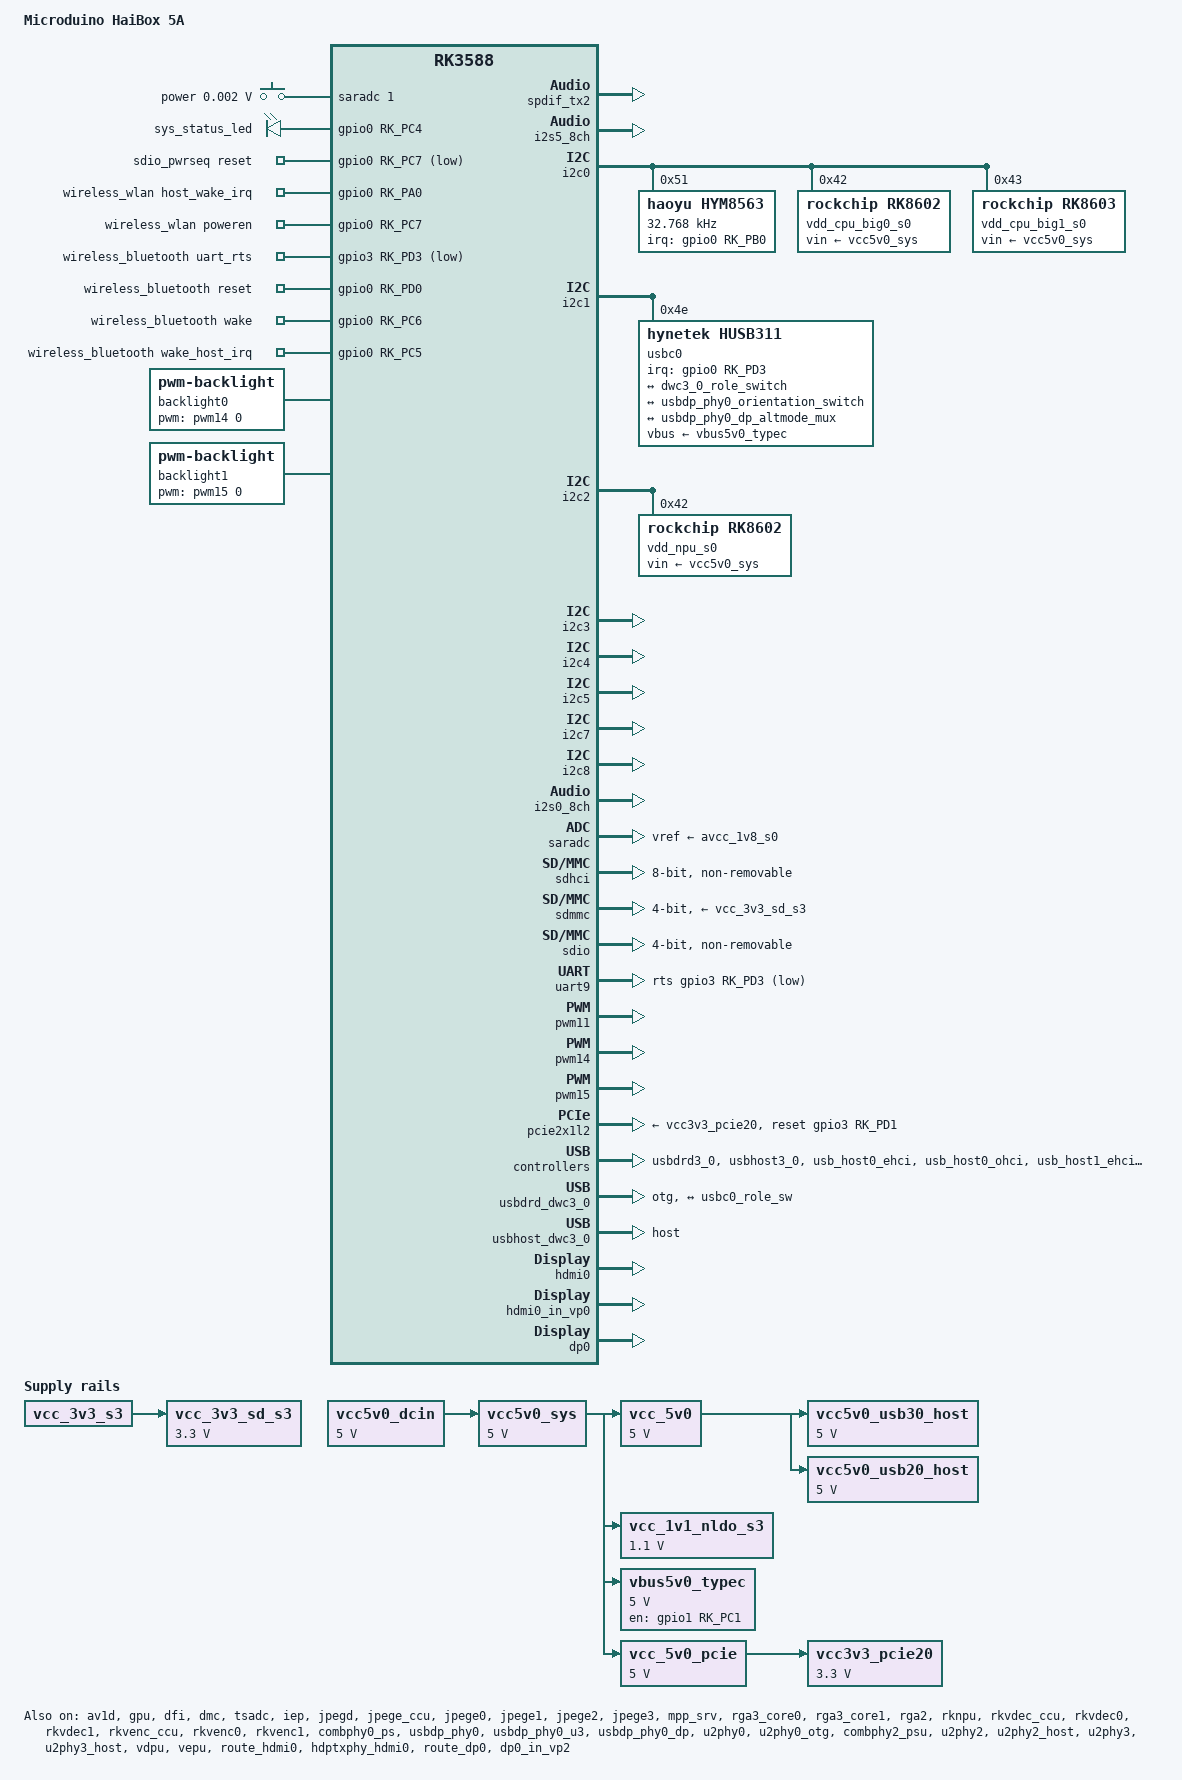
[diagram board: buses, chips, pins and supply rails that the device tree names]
// SPDX-License-Identifier: (GPL-2.0+ OR MIT)
/*
 * Copyright (c) 2021 Rockchip Electronics Co., Ltd.
 * Copyright (c) 2023 EmbedFire <embedfire@embedfire.com>
 */

/dts-v1/;

#include <dt-bindings/usb/pd.h>
#include <dt-bindings/leds/common.h>
#include <dt-bindings/gpio/gpio.h>
#include <dt-bindings/pwm/pwm.h>
#include <dt-bindings/pinctrl/rockchip.h>
#include <dt-bindings/input/rk-input.h>
#include <dt-bindings/display/drm_mipi_dsi.h>
#include <dt-bindings/display/rockchip_vop.h>
#include <dt-bindings/sensor-dev.h>
#include "rk3588s.dtsi"
#include "rk3588-rk806-single.dtsi"
#include "rk3588-linux.dtsi"

/ {
	model = "Microduino HaiBox 5A";
	compatible = "microduino,haibox-5a", "rockchip,rk3588";

	chosen: chosen {
		bootargs = "earlycon=uart8250,mmio32,0xfeb50000 console=ttyFIQ0 coherent_pool=1m irqchip.gicv3_pseudo_nmi=0";
	};

	adc_keys: adc-keys {
		compatible = "adc-keys";
		io-channels = <&saradc 1>;
		io-channel-names = "buttons";
		keyup-threshold-microvolt = <1800000>;
		poll-interval = <100>;

		power {
			label = "power";
			linux,code = <KEY_POWER>;
			press-threshold-microvolt = <1750>;
		};
	};

	leds: leds {
		status = "okay";
		compatible = "gpio-leds";

		sys_status_led: sys-status-led {
			label = "sys_status_led";
			linux,default-trigger = "heartbeat";
			default-state = "on";
			gpios = <&gpio0 RK_PC4 GPIO_ACTIVE_HIGH>;
			pinctrl-names = "default";
			pinctrl-0 = <&sys_status_led_pin>;
		};
	};

	sdio_pwrseq: sdio-pwrseq {
		compatible = "mmc-pwrseq-simple";
		pinctrl-names = "default";
		pinctrl-0 = <&wifi_enable_h>;
		reset-gpios = <&gpio0 RK_PC7 GPIO_ACTIVE_LOW>;
	};

	wireless_wlan: wireless-wlan {
		compatible = "wlan-platdata";
		wifi_chip_type = "aic8800";
		pinctrl-names = "default";
		pinctrl-0 = <&wifi_host_wake_irq>;
		WIFI,host_wake_irq = <&gpio0 RK_PA0 GPIO_ACTIVE_HIGH>;
		WIFI,poweren_gpio = <&gpio0 RK_PC7 GPIO_ACTIVE_HIGH>;
		status = "okay";
	};

	wireless_bluetooth: wireless-bluetooth {
		compatible = "bluetooth-platdata";
		uart_rts_gpios = <&gpio3 RK_PD3 GPIO_ACTIVE_LOW>;
		pinctrl-names = "rts_gpio";
		pinctrl-0 = <&uart9_gpios>;
		BT,reset_gpio    = <&gpio0 RK_PD0 GPIO_ACTIVE_HIGH>; // BT_REG_ON_H
		BT,wake_gpio     = <&gpio0 RK_PC6 GPIO_ACTIVE_HIGH>; // HOST_WAKE_BT_H
		BT,wake_host_irq = <&gpio0 RK_PC5 GPIO_ACTIVE_HIGH>; // BT_WAKE_HOST_H
		status = "okay";
	};

	vcc5v0_dcin: vcc5v0-dcin {
		compatible = "regulator-fixed";
		regulator-name = "vcc5v_dcin";
		regulator-always-on;
		regulator-boot-on;
		regulator-min-microvolt = <5000000>;
		regulator-max-microvolt = <5000000>;
	};
	
	/* check done*/
	vcc5v0_sys: vcc5v0-sys {
		compatible = "regulator-fixed";
		regulator-name = "vcc5v0_sys";
		regulator-always-on;
		regulator-boot-on;
		regulator-min-microvolt = <5000000>;
		regulator-max-microvolt = <5000000>;
		vin-supply = <&vcc5v0_dcin>;
	};

	vcc_5v0: vcc-5v0 {
		compatible = "regulator-fixed";
		regulator-name = "vcc_5v0";
		regulator-always-on;
		regulator-boot-on;
		regulator-min-microvolt = <5000000>;
		regulator-max-microvolt = <5000000>;
		vin-supply = <&vcc5v0_sys>;
	};

	vcc_1v1_nldo_s3: vcc-1v1-nldo-s3 {
		compatible = "regulator-fixed";
		regulator-name = "vcc_1v1_nldo_s3";
		regulator-always-on;
		regulator-boot-on;
		regulator-min-microvolt = <1100000>;
		regulator-max-microvolt = <1100000>;
		vin-supply = <&vcc5v0_sys>;
	};

	vcc_3v3_sd_s3: vcc-3v3-sd-s3 {
		compatible = "regulator-fixed";
		regulator-name = "vcc_3v3_sd_s3";
		regulator-always-on;
		regulator-boot-on;
		regulator-min-microvolt = <3300000>;
		regulator-max-microvolt = <3300000>;
		vin-supply = <&vcc_3v3_s3>;
	};

	/* check done*/
	vbus5v0_typec: vbus5v0-typec {
		compatible = "regulator-fixed";
		regulator-name = "vbus5v0_typec";
		regulator-min-microvolt = <5000000>;
		regulator-max-microvolt = <5000000>;
		enable-active-high;
		gpio = <&gpio1 RK_PC1 GPIO_ACTIVE_HIGH>;
		vin-supply = <&vcc5v0_sys>;
		pinctrl-names = "default";
		pinctrl-0 = <&typec_vbus_en>;
	};

	/* check done*/
	vcc5v0_usb30_host: vcc5v0-usb30-host {
		compatible = "regulator-fixed";
		regulator-name = "vcc5v0_usb30_host";
		regulator-always-on;
		regulator-boot-on;
		regulator-min-microvolt = <5000000>;
		regulator-max-microvolt = <5000000>;
		vin-supply = <&vcc_5v0>;
	};

	/* check done*/
	vcc5v0_usb20_host: vcc5v0-usb20-host {
		compatible = "regulator-fixed";
		regulator-name = "vcc5v0_usb20_host";
		regulator-always-on;
		regulator-boot-on;
		regulator-min-microvolt = <5000000>;
		regulator-max-microvolt = <5000000>;
		vin-supply = <&vcc_5v0>;
	};


	/* panda new */
	/* check done*/
	vcc_5v0_pcie: vcc-5v0-pcie {
		compatible = "regulator-fixed";
		regulator-name = "vcc_5v0";
		regulator-always-on;
		regulator-boot-on;
		regulator-min-microvolt = <5000000>;
		regulator-max-microvolt = <5000000>;
		vin-supply = <&vcc5v0_sys>;
	};

	vcc3v3_pcie20: vcc3v3-pcie20 {
		compatible = "regulator-fixed";
		regulator-name = "vcc3v3_pcie20";
		regulator-always-on;
		regulator-boot-on;
		regulator-min-microvolt = <3300000>;
		regulator-max-microvolt = <3300000>;
		vin-supply = <&vcc_5v0_pcie>;
	};

	dp0_sound: dp0-sound {
		status = "okay";
		compatible = "rockchip,hdmi";
		rockchip,card-name = "rockchip-dp0";
		rockchip,mclk-fs = <512>;
		rockchip,cpu = <&spdif_tx2>;
		rockchip,codec = <&dp0 1>;
		rockchip,jack-det;
	};

	hdmi0_sound: hdmi0-sound {
		status = "okay";
		compatible = "rockchip,hdmi";
		rockchip,mclk-fs = <128>;
		rockchip,card-name = "rockchip-hdmi0";
		rockchip,cpu = <&i2s5_8ch>;
		rockchip,codec = <&hdmi0>;
		rockchip,jack-det;
	};

	/* check done*/
	backlight0: backlight0 {
		compatible = "pwm-backlight";
		pwms = <&pwm14 0 25000 0>;
		brightness-levels = <
		0  20  20  21  21  22  22  23
		23  24  24  25  25  26  26  27
		27  28  28  29  29  30  30  31
		31  32  32  33  33  34  34  35
		35  36  36  37  37  38  38  39
		40  41  42  43  44  45  46  47
		48  49  50  51  52  53  54  55
		56  57  58  59  60  61  62  63
		64  65  66  67  68  69  70  71
		72  73  74  75  76  77  78  79
		80  81  82  83  84  85  86  87
		88  89  90  91  92  93  94  95
		96  97  98  99 100 101 102 103
		104 105 106 107 108 109 110 111
		112 113 114 115 116 117 118 119
		120 121 122 123 124 125 126 127
		128 129 130 131 132 133 134 135
		136 137 138 139 140 141 142 143
		144 145 146 147 148 149 150 151
		152 153 154 155 156 157 158 159
		160 161 162 163 164 165 166 167
		168 169 170 171 172 173 174 175
		176 177 178 179 180 181 182 183
		184 185 186 187 188 189 190 191
		192 193 194 195 196 197 198 199
		200 201 202 203 204 205 206 207
		208 209 210 211 212 213 214 215
		216 217 218 219 220 221 222 223
		224 225 226 227 228 229 230 231
		232 233 234 235 236 237 238 239
		240 241 242 243 244 245 246 247
		248 249 250 251 252 253 254 255	
		>;
		default-brightness-level = <200>;
	};

	/* check done*/
	backlight1: backlight1 {
		compatible = "pwm-backlight";
		pwms = <&pwm15 0 25000 0>;
		brightness-levels = <
		0  20  20  21  21  22  22  23
		23  24  24  25  25  26  26  27
		27  28  28  29  29  30  30  31
		31  32  32  33  33  34  34  35
		35  36  36  37  37  38  38  39
		40  41  42  43  44  45  46  47
		48  49  50  51  52  53  54  55
		56  57  58  59  60  61  62  63
		64  65  66  67  68  69  70  71
		72  73  74  75  76  77  78  79
		80  81  82  83  84  85  86  87
		88  89  90  91  92  93  94  95
		96  97  98  99 100 101 102 103
		104 105 106 107 108 109 110 111
		112 113 114 115 116 117 118 119
		120 121 122 123 124 125 126 127
		128 129 130 131 132 133 134 135
		136 137 138 139 140 141 142 143
		144 145 146 147 148 149 150 151
		152 153 154 155 156 157 158 159
		160 161 162 163 164 165 166 167
		168 169 170 171 172 173 174 175
		176 177 178 179 180 181 182 183
		184 185 186 187 188 189 190 191
		192 193 194 195 196 197 198 199
		200 201 202 203 204 205 206 207
		208 209 210 211 212 213 214 215
		216 217 218 219 220 221 222 223
		224 225 226 227 228 229 230 231
		232 233 234 235 236 237 238 239
		240 241 242 243 244 245 246 247
		248 249 250 251 252 253 254 255	
		>;
		default-brightness-level = <200>;
	};

	test-power {
		status = "okay";
	};
};

&rockchip_suspend {
	status = "disabled";
	rockchip,sleep-debug-en = <1>;
	rockchip,sleep-mode-config = <
		(0
		| RKPM_SLP_ARMOFF_DDRPD 
		)
	>;
	rockchip,wakeup-config = <
		(0
		| RKPM_GPIO_WKUP_EN
		| RKPM_CPU0_WKUP_EN
		)
	>;
};

&av1d {
	status = "okay";
};

&av1d_mmu {
	status = "okay";
};

&spdif_tx2 {
    status = "okay";
};

&i2s5_8ch {
	status = "okay";
};

&cpu_l0 {
	cpu-supply = <&vdd_cpu_lit_s0>;
	mem-supply = <&vdd_cpu_lit_mem_s0>;
};

&cpu_b0 {
	cpu-supply = <&vdd_cpu_big0_s0>;
	mem-supply = <&vdd_cpu_big0_mem_s0>;
};

&cpu_b2 {
	cpu-supply = <&vdd_cpu_big1_s0>;
	mem-supply = <&vdd_cpu_big1_mem_s0>;
};

&gpu {
	mali-supply = <&vdd_gpu_s0>;
	mem-supply = <&vdd_gpu_mem_s0>;
	upthreshold = <60>;
	downdifferential = <30>;
	status = "okay";
};

&dfi {
	status = "okay";
};

&dmc {
	status = "okay";
	center-supply = <&vdd_ddr_s0>;
	mem-supply = <&vdd_log_s0>;
};

&i2c0 {
	pinctrl-names = "default";
	pinctrl-0 = <&i2c0m2_xfer>;
	status = "okay";

	hym8563: hym8563@51 {
		compatible = "haoyu,hym8563";
		reg = <0x51>;
		#clock-cells = <0>;
		clock-frequency = <32768>;
		clock-output-names = "hym8563";
		pinctrl-names = "default";
		pinctrl-0 = <&hym8563_int>;
		interrupt-parent = <&gpio0>;
		interrupts = <RK_PB0 IRQ_TYPE_LEVEL_LOW>;
		wakeup-source;
	};

	vdd_cpu_big0_s0: vdd_cpu_big0_mem_s0: rk8602@42 {
		compatible = "rockchip,rk8602";
		reg = <0x42>;
		vin-supply = <&vcc5v0_sys>;
		regulator-compatible = "rk860x-reg";
		regulator-name = "vdd_cpu_big0_s0";
		regulator-min-microvolt = <550000>;
		regulator-max-microvolt = <1050000>;
		regulator-ramp-delay = <2300>;
		rockchip,suspend-voltage-selector = <1>;
		regulator-boot-on;
		regulator-always-on;
		regulator-state-mem {
			regulator-off-in-suspend;
		};
	};

	vdd_cpu_big1_s0: vdd_cpu_big1_mem_s0: rk8603@43 {
		compatible = "rockchip,rk8603";
		reg = <0x43>;
		vin-supply = <&vcc5v0_sys>;
		regulator-compatible = "rk860x-reg";
		regulator-name = "vdd_cpu_big1_s0";
		regulator-min-microvolt = <550000>;
		regulator-max-microvolt = <1050000>;
		regulator-ramp-delay = <2300>;
		rockchip,suspend-voltage-selector = <1>;
		regulator-boot-on;
		regulator-always-on;
		regulator-state-mem {
			regulator-off-in-suspend;
		};
	};
};

&i2c1 {
	pinctrl-names = "default";
	pinctrl-0 = <&i2c1m2_xfer>;
	status = "okay";

	/* Typec Controller husb311 */
	usbc0: husb311@4e {
		compatible = "hynetek,husb311";
		reg = <0x4e>;
		interrupt-parent = <&gpio0>;
		interrupts = <RK_PD3 IRQ_TYPE_LEVEL_LOW>;
		pinctrl-names = "default";
		pinctrl-0 = <&usbc0_int>;
		vbus-supply = <&vbus5v0_typec>;
		status = "okay";

		ports {
			#address-cells = <1>;
			#size-cells = <0>;

			port@0 {
				reg = <0>;
				usbc0_role_sw: endpoint@0 {
					remote-endpoint = <&dwc3_0_role_switch>;
				};
			};
		};

		usb_con: connector {
			compatible = "usb-c-connector";
			label = "USB-C";
			data-role = "dual";
			power-role = "dual";
			try-power-role = "sink";
			op-sink-microwatt = <1000000>;
			sink-pdos =
				<PDO_FIXED(5000, 1000, PDO_FIXED_USB_COMM)>;
			source-pdos =
				<PDO_FIXED(5000, 3000, PDO_FIXED_USB_COMM)>;

			altmodes {
				#address-cells = <1>;
				#size-cells = <0>;

				altmode@0 {
					reg = <0>;
					svid = <0xff01>;
					vdo = <0xffffffff>;
				};
			};

			ports {
				#address-cells = <1>;
				#size-cells = <0>;

				port@0 {
					reg = <0>;
					usbc0_orien_sw: endpoint {
						remote-endpoint = <&usbdp_phy0_orientation_switch>;
					};
				};

				port@1 {
					reg = <1>;
					dp_altmode_mux: endpoint {
						remote-endpoint = <&usbdp_phy0_dp_altmode_mux>;
					};
				};
			};
		};
	};
};

&i2c2 {
	pinctrl-names = "default";
	pinctrl-0 = <&i2c2m0_xfer>;
	status = "okay";

	vdd_npu_s0: vdd_npu_mem_s0: rk8602@42 {
		compatible = "rockchip,rk8602";
		reg = <0x42>;
		vin-supply = <&vcc5v0_sys>;
		regulator-compatible = "rk860x-reg";
		regulator-name = "vdd_npu_s0";
		regulator-min-microvolt = <550000>;
		regulator-max-microvolt = <950000>;
		regulator-ramp-delay = <2300>;
		rockchip,suspend-voltage-selector = <1>;
		regulator-boot-on;
		regulator-always-on;
		regulator-state-mem {
			regulator-off-in-suspend;
		};
	};
};

&i2c3 {
	pinctrl-names = "default";
	pinctrl-0 = <&i2c3m1_xfer>;
	status = "okay";

};

&i2c4 {
	pinctrl-names = "default";
	pinctrl-0 = <&i2c4m3_xfer>;
	status = "okay";

};

&i2c5 {
	pinctrl-names = "default";
	pinctrl-0 = <&i2c5m2_xfer>;
	status = "okay";

};

&i2c7 {
	pinctrl-names = "default";
	pinctrl-0 = <&i2c7m0_xfer>;
	status = "okay";
};

&i2c8 {
	pinctrl-names = "default";
	pinctrl-0 = <&i2c8m2_xfer>;
	status = "okay";
};

/* check done*/
&i2s0_8ch {
    status = "okay";
    rockchip,clk-trcm = <1>;
    pinctrl-0 = <&i2s0_lrck
             &i2s0_sclk
             &i2s0_sdi0
             &i2s0_sdo0>;
};

&saradc {
	status = "okay";
	vref-supply = <&avcc_1v8_s0>;
};

&tsadc {
	status = "okay";
};

&sdhci {
	bus-width = <8>;
	no-sdio;
	no-sd;
	non-removable;
	max-frequency = <200000000>;
	mmc-hs400-1_8v;
	mmc-hs400-enhanced-strobe;
	status = "okay";
};

&sdmmc {
	max-frequency = <200000000>;
	no-sdio;
	no-mmc;
	bus-width = <4>;
	cap-mmc-highspeed;
	cap-sd-highspeed;
	disable-wp;
	sd-uhs-sdr104;
	vmmc-supply = <&vcc_3v3_sd_s3>;
	vqmmc-supply = <&vccio_sd_s0>;
	pinctrl-names = "default";
	pinctrl-0 = <&sdmmc_bus4 &sdmmc_clk &sdmmc_cmd &sdmmc_det>;
	status = "okay";
};

&sdio {
	max-frequency = <150000000>;
	supports-sdio;
	bus-width = <4>;
	disable-wp;
	cap-sd-highspeed;
	cap-sdio-irq;
	keep-power-in-suspend;
	mmc-pwrseq = <&sdio_pwrseq>;
	non-removable;
	num-slots = <1>;
	pinctrl-names = "default";
	pinctrl-0 = <&sdiom1_pins>;
	sd-uhs-sdr104;
	status = "okay";
};

&uart9 {
	pinctrl-names = "default";
	pinctrl-0 = <&uart9m2_xfer>;
	rts-gpios = <&gpio3 RK_PD3 GPIO_ACTIVE_LOW>;
	cts-gpios = <&gpio3 RK_PD2 GPIO_ACTIVE_LOW>;
	status = "okay";
};

&iep {
	status = "okay";
};

&iep_mmu {
	status = "okay";
};

&jpegd {
	status = "okay";
};

&jpegd_mmu {
	status = "okay";
};

&jpege_ccu {
	status = "okay";
};

&jpege0 {
	status = "okay";
};

&jpege0_mmu {
	status = "okay";
};

&jpege1 {
	status = "okay";
};

&jpege1_mmu {
	status = "okay";
};

&jpege2 {
	status = "okay";
};

&jpege2_mmu {
	status = "okay";
};

&jpege3 {
	status = "okay";
};

&jpege3_mmu {
	status = "okay";
};

&mpp_srv {
	status = "okay";
};

/* check done*/
/* float */
&pwm11 {
	pinctrl-0 = <&pwm11m2_pins>;
	status = "okay";
};

/* mipi0 io0 */
&pwm14 {
	pinctrl-0 = <&pwm14m0_pins>;
	status = "okay";
};

/* mipi1 io0 */
&pwm15 {
	pinctrl-0 = <&pwm15m0_pins>;
	status = "okay";
};

&rga3_core0 {
	status = "okay";
};

&rga3_0_mmu {
	status = "okay";
};

&rga3_core1 {
	status = "okay";
};

&rga3_1_mmu {
	status = "okay";
};

&rga2 {
	status = "okay";
};

&rknpu {
	rknpu-supply = <&vdd_npu_s0>;
	mem-supply = <&vdd_npu_mem_s0>;
	status = "okay";
};

&rknpu_mmu {
	status = "okay";
};

&rkvdec_ccu {
	status = "okay";
};

&rkvdec0 {
	status = "okay";
};

&rkvdec0_mmu {
	status = "okay";
};

&rkvdec1 {
	status = "okay";
};

&rkvdec1_mmu {
	status = "okay";
};

&rkvenc_ccu {
	status = "okay";
};

&rkvenc0 {
	status = "okay";
};

&rkvenc0_mmu {
	status = "okay";
};

&rkvenc1 {
	status = "okay";
};

&rkvenc1_mmu {
	status = "okay";
};

/* SATA30/PCIe20x1_2 Combo PHY */
&combphy0_ps {
	status = "okay";
};

&pcie2x1l2 {
	status = "okay";
	reset-gpios = <&gpio3 RK_PD1 GPIO_ACTIVE_HIGH>;
	vpcie3v3-supply = <&vcc3v3_pcie20>;
};

/* USB3.1/DP Combo PHY0 */
&usbdp_phy0 {
	orientation-switch;
	svid = <0xff01>;
	sbu1-dc-gpios = <&gpio4 RK_PB4 GPIO_ACTIVE_HIGH>;
	sbu2-dc-gpios = <&gpio4 RK_PB5 GPIO_ACTIVE_HIGH>;
	status = "okay";

	port {
		#address-cells = <1>;
		#size-cells = <0>;
		usbdp_phy0_orientation_switch: endpoint@0 {
			reg = <0>;
			remote-endpoint = <&usbc0_orien_sw>;
		};

		usbdp_phy0_dp_altmode_mux: endpoint@1 {
			reg = <1>;
			remote-endpoint = <&dp_altmode_mux>;
		};
	};
};

&usbdp_phy0_u3 {
	status = "okay";
};

&usbdp_phy0_dp {
	status = "okay";
};

/* USB3.1 OTG0 Controller  */
&usbdrd3_0 {
	status = "okay";
};

&usbdrd_dwc3_0 {
	dr_mode = "otg";
	usb-role-switch;
	
	status = "okay";
	port {
		#address-cells = <1>;
		#size-cells = <0>;
		dwc3_0_role_switch: endpoint@0 {
			reg = <0>;
			remote-endpoint = <&usbc0_role_sw>;
		};
	};
};

/* USB2.0 PHY0 */
&u2phy0 {
	status = "okay";
};

&u2phy0_otg {
	rockchip,typec-vbus-det;
	status = "okay";
};

/* USB3.1/SATA/PCIe20x1_1 Combo PHY */
&combphy2_psu {
	status = "okay";
};

/* USB3.1 HOST2 Controller  */
&usbhost3_0 {
	status = "okay";
};

&usbhost_dwc3_0 {
	dr_mode = "host";
	status = "okay";
};

/* USB2.0 HOST0 PHY2 */
&u2phy2 {
	status = "okay";
};

&u2phy2_host {
	phy-supply = <&vcc5v0_usb30_host>;
	status = "okay";
};

/* USB2.0 HOST0 Controller */
&usb_host0_ehci {
	status = "okay";
};

&usb_host0_ohci {
	status = "okay";
};

/* USB2.0 HOST1 PHY3 */
&u2phy3 {
	status = "okay";
};

&u2phy3_host {
	phy-supply = <&vcc5v0_usb20_host>;
	status = "okay";
};

/* USB2.0 HOST1 Controller */
&usb_host1_ehci {
	status = "okay";
};

&usb_host1_ohci {
	status = "okay";
};

&vdpu {
	status = "okay";
};

&vdpu_mmu {
	status = "okay";
};

&vepu {
	status = "okay";
};

/* hdmi0 display */
&hdmi0 {
	enable-gpios = <&gpio4 RK_PB6 GPIO_ACTIVE_HIGH>;
	cec-enable = "true";
	status = "okay";
};

&route_hdmi0{
	status = "okay";
	connect = <&vp0_out_hdmi0>;
};

&hdmi0_in_vp0 {
	status = "okay";
};

&hdmi0_in_vp1 {
	status = "disabled";
};

&hdmi0_in_vp2 {
	status = "disabled";
};

&hdptxphy_hdmi0 {
	status = "okay";
};

/* dp0 display */
&dp0 {
	status = "okay";
};

&route_dp0 {
	status = "okay";
	connect = <&vp2_out_dp0>;	
};

&dp0_in_vp0 {
	status = "disabled";
};

&dp0_in_vp1 {
	status = "dsiabled";
};

&dp0_in_vp2 {
	status = "okay";
};

&vop {
	status = "okay";
	disable-win-move;
	assigned-clocks = <&cru ACLK_VOP>;
	assigned-clock-rates = <800000000>;
};

&vop_mmu {
	status = "okay";
};

/* vp0 & vp1 splice for 8K output */
&vp0 {
	rockchip,plane-mask = <(1 << ROCKCHIP_VOP2_CLUSTER0 | 1 << ROCKCHIP_VOP2_ESMART0)>;
	rockchip,primary-plane = <ROCKCHIP_VOP2_ESMART0>;
	cursor-win-id = <ROCKCHIP_VOP2_CLUSTER0>;
};

&vp1 {
	rockchip,plane-mask = <(1 << ROCKCHIP_VOP2_CLUSTER1 | 1 << ROCKCHIP_VOP2_ESMART1)>;
	rockchip,primary-plane = <ROCKCHIP_VOP2_ESMART1>;
	cursor-win-id = <ROCKCHIP_VOP2_CLUSTER1>;
};

&vp2 {
	rockchip,plane-mask = <(1 << ROCKCHIP_VOP2_CLUSTER2 | 1 << ROCKCHIP_VOP2_ESMART2)>;
	rockchip,primary-plane = <ROCKCHIP_VOP2_ESMART2>;
	cursor-win-id = <ROCKCHIP_VOP2_CLUSTER2>;
};

&vp3 {
	rockchip,plane-mask = <(1 << ROCKCHIP_VOP2_CLUSTER3 | 1 << ROCKCHIP_VOP2_ESMART3)>;
	rockchip,primary-plane = <ROCKCHIP_VOP2_ESMART3>;
	cursor-win-id = <ROCKCHIP_VOP2_CLUSTER3>;
};

&display_subsystem {
	clocks = <&hdptxphy_hdmi0>;
	clock-names = "hdmi0_phy_pll";
};

&hdptxphy_hdmi0 {
    status = "okay";
};

&pinctrl {
    hym8563 {
        hym8563_int: hym8563-int {
            rockchip,pins = <0 RK_PB0 RK_FUNC_GPIO &pcfg_pull_up>;
        };
    };

	usb-typec {
		usbc0_int: usbc0-int {
			rockchip,pins = <0 RK_PD3 RK_FUNC_GPIO &pcfg_pull_up>;
		};

		typec_vbus_en: typec-vbus-en {
			rockchip,pins = <1 RK_PC1 RK_FUNC_GPIO &pcfg_pull_none>;
		};
	};

/*
	usb {
		usb30_host_pwr_en: usb30-host-pwr-en {
			rockchip,pins = <1 RK_PC4 RK_FUNC_GPIO &pcfg_pull_none>;
		};

		usb20_host_pwr_en: usb20-host-pwr-en {
			rockchip,pins = <1 RK_PC6 RK_FUNC_GPIO &pcfg_pull_none>;
		};
	};
*/

	sdio-pwrseq {
		wifi_enable_h: wifi-enable-h {
			rockchip,pins = <0 RK_PC7 RK_FUNC_GPIO &pcfg_pull_none>;
		};
	};

	wireless-wlan {
		wifi_host_wake_irq: wifi-host-wake-irq {
			rockchip,pins = <0 RK_PA0 RK_FUNC_GPIO &pcfg_pull_down>;
		};
	};

	wireless-bluetooth {
		uart9_gpios: uart9-gpios {
			rockchip,pins = <3 RK_PD3 RK_FUNC_GPIO &pcfg_pull_down>;
		};
	};

	leds {
		sys_status_led_pin: sys-status-led-pin {
			rockchip,pins = <0 RK_PC4 RK_FUNC_GPIO &pcfg_pull_none>;
		};
	};
};
